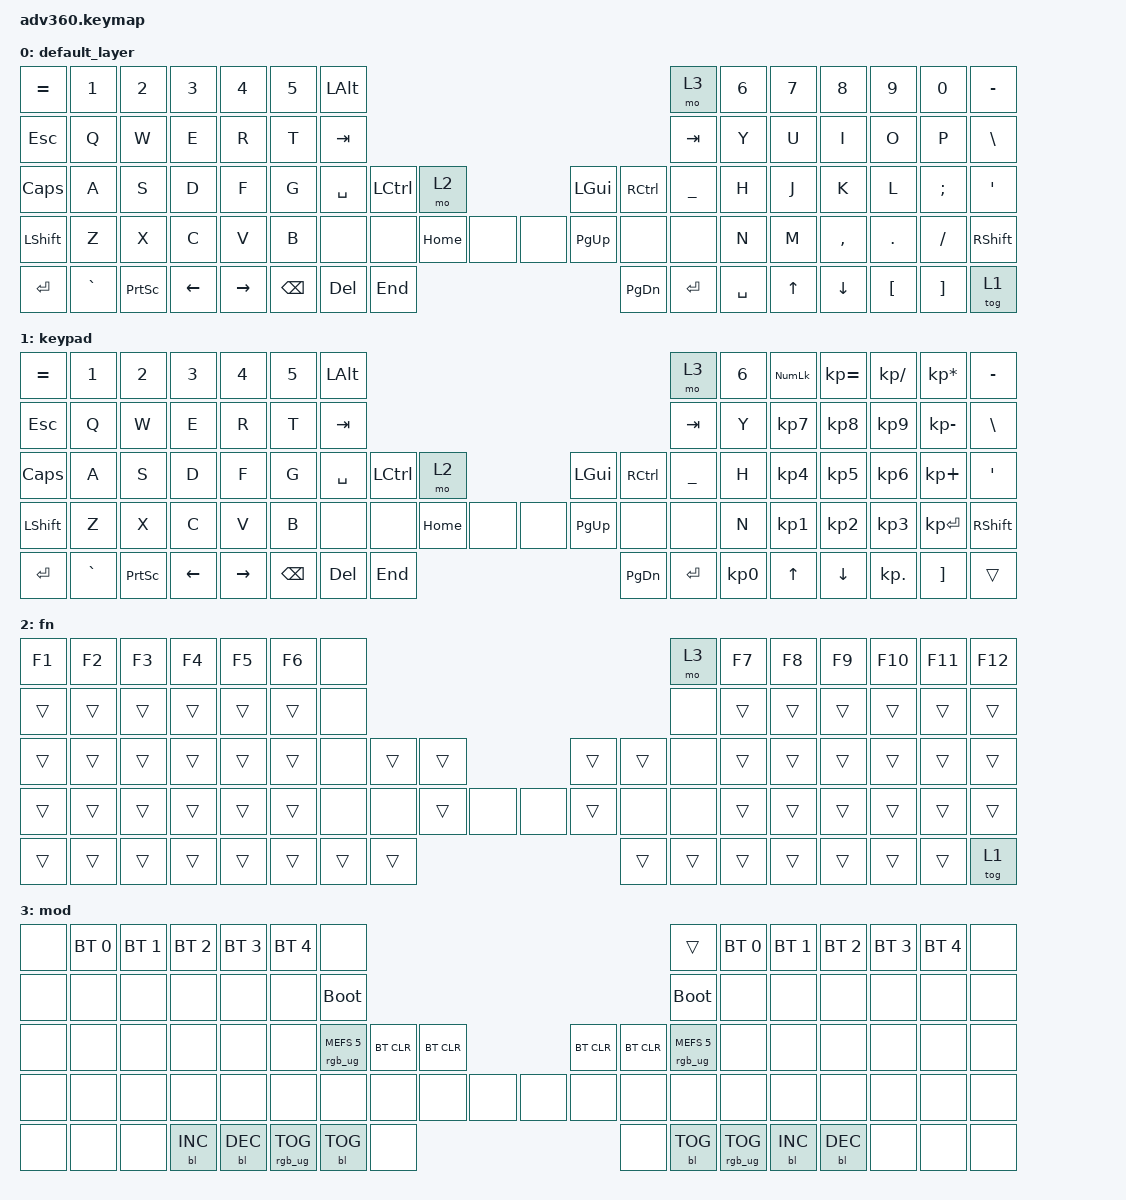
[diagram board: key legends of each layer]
#include <behaviors.dtsi>
#include <dt-bindings/zmk/keys.h>
#include <dt-bindings/zmk/bt.h>
#include <dt-bindings/zmk/rgb.h>
#include <dt-bindings/zmk/backlight.h>

/ {
    behaviors {
      #include "macros.dtsi"

      hm: homerow_mods {
          compatible = "zmk,behavior-hold-tap";
          label = "HOMEROW_MODS";
          #binding-cells = <2>;
          tapping-term-ms = <200>;
          quick_tap_ms = <175>;
          flavor = "tap-preferred";
          bindings = <&kp>, <&kp>;
      };
    };

  keymap {
    compatible = "zmk,keymap";

    default_layer {
      bindings = <
        &kp EQUAL &kp N1    &kp N2   &kp N3   &kp N4     &kp N5 &kp LALT                                                                   &mo 3           &kp N6 &kp N7 &kp N8    &kp N9   &kp N0   &kp MINUS
        &kp ESC   &kp Q     &kp W    &kp E    &kp R      &kp T  &kp TAB                                                                     &kp TAB         &kp Y  &kp U  &kp I     &kp O    &kp P    &kp BSLH
        &kp CAPS  &kp A     &kp S    &kp D    &kp F      &kp G  &kp SPACE       &kp LCTRL &mo 2                &kp LGUI  &kp RCTRL          &kp UNDERSCORE  &kp H  &kp J  &kp K     &kp L    &kp SEMI &kp SQT
        &kp LSHFT &kp Z     &kp X    &kp C    &kp V      &kp B         &none    &none     &kp HOME &none &none &kp PG_UP &none     &none                    &kp N  &kp M  &kp COMMA &kp DOT  &kp FSLH &kp RSHFT
        &kp ENTER &kp GRAVE &kp PSCRN  &kp LEFT &kp RIGHT                &kp BSPC &kp DEL   &kp END              &kp PG_DN &kp ENTER &kp SPACE                       &kp UP &kp DOWN  &kp LBKT &kp RBKT &tog 1
      >;
    };
    keypad {
      bindings = <
        &kp EQUAL &kp N1    &kp N2   &kp N3   &kp N4     &kp N5 &kp LALT                                                                     &mo 3          &kp N6 &kp KP_NUM &kp KP_EQUAL &kp KP_DIVIDE &kp KP_MULTIPLY &kp MINUS
        &kp ESC   &kp Q     &kp W    &kp E    &kp R      &kp T  &kp TAB                                                                      &kp TAB        &kp Y  &kp KP_N7  &kp KP_N8    &kp KP_N9     &kp KP_MINUS    &kp BSLH
        &kp CAPS  &kp A     &kp S    &kp D    &kp F      &kp G  &kp SPACE       &kp LCTRL &mo 2             &kp LGUI  &kp RCTRL              &kp UNDERSCORE &kp H  &kp KP_N4  &kp KP_N5    &kp KP_N6     &kp KP_PLUS     &kp SQT
        &kp LSHFT &kp Z     &kp X    &kp C    &kp V      &kp B         &none    &none     &kp HOME &none &none &kp PG_UP &none     &none                    &kp N  &kp KP_N1  &kp KP_N2    &kp KP_N3     &kp KP_ENTER    &kp RSHFT
        &kp ENTER &kp GRAVE &kp PSCRN &kp LEFT &kp RIGHT                &kp BSPC &kp DEL   &kp END              &kp PG_DN &kp ENTER &kp KP_N0                       &kp UP     &kp DOWN     &kp KP_DOT    &kp RBKT        &trans
      >;
    };
    fn {
      bindings = <
        &kp F1 &kp F2 &kp F3 &kp F4 &kp F5 &kp F6  &none                                                       &mo 3 &kp F7 &kp F8 &kp F9 &kp F10 &kp F11 &kp F12
        &trans &trans &trans &trans &trans &trans  &none                                                       &none &trans &trans &trans &trans  &trans  &trans
        &trans &trans &trans &trans &trans &trans  &none        &trans &trans             &trans &trans        &none &trans &trans &trans &trans  &trans  &trans
        &trans &trans &trans &trans &trans &trans        &none  &none  &trans &none &none &trans &none  &none        &trans &trans &trans &trans  &trans  &trans
        &trans &trans &trans &trans &trans               &trans &trans &trans             &trans &trans &trans              &trans &trans &trans  &trans  &tog 1
      >;
    };
    mod {
      bindings = <
        &none &bt BT_SEL 0 &bt BT_SEL 1 &bt BT_SEL 2 &bt BT_SEL 3 &bt BT_SEL 4 &none                                                                                                          &trans                 &bt BT_SEL 0 &bt BT_SEL 1 &bt BT_SEL 2 &bt BT_SEL 3 &bt BT_SEL 4 &none
        &none &none        &none        &none        &none        &none        &bootloader                                                                                                    &bootloader            &none        &none        &none        &none        &none        &none
        &none &none        &none        &none        &none        &none        &rgb_ug RGB_MEFS_CMD 5                 &bt BT_CLR &bt BT_CLR             &bt BT_CLR &bt BT_CLR                 &rgb_ug RGB_MEFS_CMD 5 &none        &none        &none        &none        &none        &none
        &none &none        &none        &none        &none        &none                               &none           &none      &none      &none &none &none      &none      &none                                  &none        &none        &none        &none        &none        &none
        &none &none        &none        &bl BL_INC   &bl BL_DEC                                       &rgb_ug RGB_TOG &bl BL_TOG &none                  &none      &bl BL_TOG &rgb_ug RGB_TOG                                     &bl BL_INC   &bl BL_DEC   &none        &none        &none
      >;
    };
  };
};
